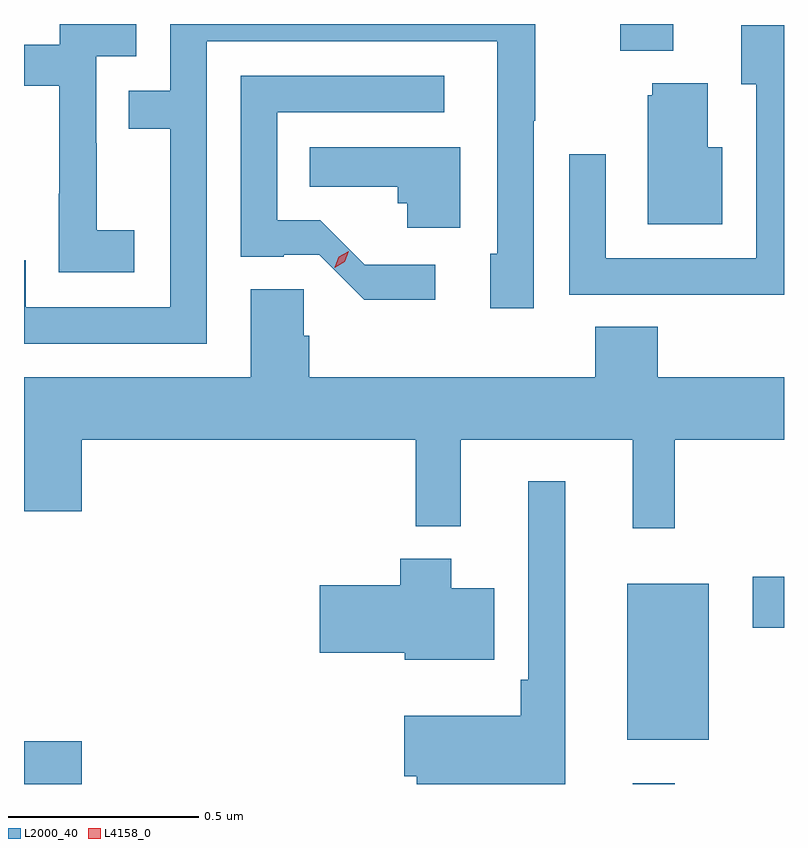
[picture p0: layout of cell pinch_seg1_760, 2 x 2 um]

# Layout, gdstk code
import gdstk
lib = gdstk.Library(unit=1e-6, precision=1e-09)
def R(c, l, rs):  # rectangles x0, y0, x1, y1
    for r in rs: c.add(gdstk.rectangle(r[:2], r[2:], *l))
def P(c, l, *ps):  # polygons
    for p in ps: c.add(gdstk.Polygon(p, *l))
L2000_40 = (2000, 40)
L4158_0 = (4158, 0)

pinch_seg1_760 = lib.new_cell('pinch_seg1_760')
R(pinch_seg1_760, L2000_40, [(836.348,520.19,836.5,520.303), (837.95,520.19,838.06,520.192), (837.935,520.307,838.15,520.717), (838.266,520.601,838.348,520.735), (837.917,522.119,838.057,522.19)])
P(pinch_seg1_760, L2000_40, [(836.638,521.647),(836.54,521.647),(836.54,521.876),(836.538,521.876),(836.538,522.105),(836.643,522.105),(836.643,522.19),(836.442,522.19),(836.442,522.135),(836.348,522.135),(836.348,522.027),(836.441,522.027),(836.441,521.743),(836.44,521.743),(836.44,521.537),(836.638,521.537)],
  [(836.829,522.144),(837.593,522.144),(837.593,521.932),(837.594,521.932),(837.594,521.586),(837.575,521.586),(837.575,521.442),(837.69,521.442),(837.69,521.935),(837.693,521.935),(837.693,522.19),(836.733,522.19),(836.733,522.015),(836.623,522.015),(836.623,521.914),(836.733,521.914),(836.733,521.445),(836.352,521.445),(836.352,521.568),(836.348,521.568),(836.348,521.349),(836.829,521.349)],
  [(838.348,522.187),(838.235,522.187),(838.235,522.031),(838.275,522.031),(838.275,521.574),(837.879,521.574),(837.879,521.847),(837.783,521.847),(837.783,521.478),(838.099,521.478),(838.099,521.477),(838.348,521.477)],
  [(837.43,521.556),(837.245,521.556),(837.128,521.673),(837.015,521.673),(837.015,521.958),(837.454,521.958),(837.454,522.054),(836.919,522.054),(836.919,521.577),(837.031,521.577),(837.031,521.583),(837.125,521.583),(837.244,521.465),(837.43,521.465)],
  [(838.186,521.866),(838.147,521.866),(838.147,522.034),(838.001,522.034),(838.001,522.003),(837.989,522.003),(837.989,521.663),(838.186,521.663)],
  [(837.496,521.866),(837.1,521.866),(837.1,521.762),(837.331,521.762),(837.331,521.718),(837.356,521.718),(837.356,521.654),(837.496,521.654)],
  [(838.06,521.096),(838.348,521.096),(838.348,521.26),(838.016,521.26),(838.016,521.393),(837.851,521.393),(837.851,521.26),(837.098,521.26),(837.098,521.369),(837.084,521.369),(837.084,521.492),(836.945,521.492),(836.945,521.26),(836.348,521.26),(836.348,520.908),(836.5,520.908),(836.5,521.096),(837.379,521.096),(837.379,520.868),(837.497,520.868),(837.497,521.096),(837.95,521.096),(837.95,520.863),(838.06,520.863)],
  [(837.772,520.987),(837.675,520.987),(837.675,520.465),(837.655,520.465),(837.655,520.369),(837.348,520.369),(837.348,520.211),(837.382,520.211),(837.382,520.19),(837.772,520.19)],
  [(837.586,520.705),(837.472,520.705),(837.472,520.783),(837.338,520.783),(837.338,520.713),(837.126,520.713),(837.126,520.535),(837.35,520.535),(837.35,520.517),(837.586,520.517)])
P(pinch_seg1_760, L4158_0, [(837.166,521.549),(837.166,521.55),(837.176,521.577),(837.202,521.592),(837.202,521.592),(837.202,521.592),(837.192,521.564),(837.166,521.549)])

lib.write_gds('pinch_seg1_760.gds')
